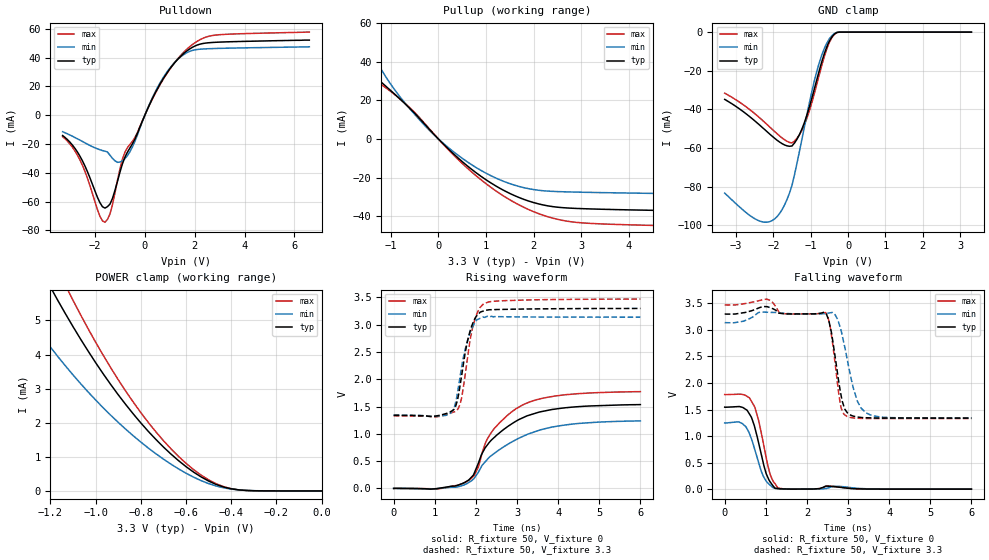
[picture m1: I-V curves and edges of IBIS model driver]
| IBIS file io_buf.ibs created by PYS2IBIS3
| Missouri S&T EMC Lab
[IBIS Ver] 6.0
[File Name] io_buf.ibs
[File Rev] 0.1
[Date] December 6, 2025
[Source] Netlist generated by Grok
[Notes] testing the exe by Simon
[Disclaimer] This buffer is not a real buffer. It is a imaginay buffer. What
 is a imaginay buffer? An imagnary buffer is a buffer that is...
[Copyright] Missouri S&T EMC Lab
[Component] MCM Driver 1
[Manufacturer] MegaFLOPS Inc.
[Package]
| variable   typ   min   max
R_pkg 0 NA NA
L_pkg 0H NA NA
C_pkg 0F NA NA
[Pin]  signal_name   model_name   R_pin   L_pin   C_pin
vss   vss   GND
vdd   vdd   POWER
| oe oe dummy
| in in dummy
out   out   driver
| End of Component
| Models and submodels in the file (1): driver (I/O)
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[Model] driver
Model_type I/O
Polarity Non-Inverting
Enable Active-High
Vinl  = 0.8V
Vinh  = 2V
C_comp 1.2000pF 1.0000pF 1.4000pF
[Temperature Range] 27.0000 100.0000 0.0000
[Voltage Range] 3.3000V 3.0000V 3.6000V
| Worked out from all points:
|   slope of the pulldown table from 0 to 0.495 V, typ, clamps not added: 27.4 ohm
|   slope of the pullup table from 0 to 0.495 V, typ, clamps not added: 42.7 ohm
|   GND clamp passes 1 mA (typ) near -0.36 V on its own axis
|   POWER clamp passes 1 mA (typ) near -0.65 V on its own axis
|   rising waveform, R_fixture 50, V_fixture 0: 20-80 % time 993ps typ, 1.23ns min, 863ps max; typ from 0 V to 1.54 V
|   rising waveform, R_fixture 50, V_fixture 3.3: 20-80 % time 285ps typ, 285ps min, 279ps max; typ from 1.34 V to 3.3 V
|   falling waveform, R_fixture 50, V_fixture 0: 20-80 % time 297ps typ, 309ps min, 301ps max; typ from 1.54 V to 0 V
|   falling waveform, R_fixture 50, V_fixture 3.3: 20-80 % time 234ps typ, 315ps min, 213ps max; typ from 3.3 V to 1.34 V
[Pulldown]
| Voltage   I(typ)   I(min)   I(max)
-3.3V     -14.11mA   -11.49mA   -14.92mA
-2.6V     -28.62mA   -17.33mA   -31.26mA
-1.8V     -60.89mA   -24.01mA   -70.36mA
-1.6V     -64.58mA   -24.99mA   -74.37mA
-1.3V     -57.87mA   -29.98mA   -62.22mA
-1V       -39.62mA   -32.58mA   -37.38mA
-800mV    -29.26mA   -30.26mA   -25.73mA
-400mV    -16.61mA   -18.23mA   -15.56mA
600mV     21.34mA    22.16mA    20.91mA
1.7V      44.86mA    43.6mA     46.12mA
2.8V      50.65mA    46.37mA    55.62mA
6.6V      52.2mA     47.56mA    57.78mA
[Pullup]
| Voltage   I(typ)   I(min)   I(max)
-3.3V     52.9mA     288mA      32.03mA
-2.9V     57.26mA    200.3mA    40.86mA
-2.5V     55.97mA    137.1mA    43.93mA
-2.2V     50.87mA    101.5mA    42.91mA
-1.7V     40.21mA    61.42mA    36.21mA
-1V       25.06mA    28.32mA    24.59mA
-200mV    5.278mA    4.74mA     5.561mA
600mV     -13.78mA   -11.72mA   -14.92mA
1.5V      -28.2mA    -23.1mA    -31.5mA
2.2V      -34.15mA   -26.79mA   -39.49mA
2.9V      -35.95mA   -27.49mA   -43.18mA
6.6V      -37.71mA   -28.71mA   -45.68mA
[GND Clamp]
| Voltage   I(typ)   I(min)   I(max)
-3.3V     -34.82mA   -83.32mA   -31.62mA
-2.367V   -48.08mA   -97.77mA   -44.32mA
-2.1V     -52.69mA   -98.1mA    -49.02mA
-1.833V   -56.87mA   -93.93mA   -53.7mA
-1.633V   -58.86mA   -86.63mA   -56.5mA
-1.5V     -58.92mA   -79.34mA   -57.37mA
-1.233V   -50.13mA   -55.35mA   -50.74mA
-1.033V   -38.66mA   -36.46mA   -40.67mA
-766.7mV  -19.68mA   -15.62mA   -21.83mA
-566.7mV  -7.562mA   -5.625mA   -8.589mA
-366.7mV  -1.04mA    -747.4uA   -1.186mA
3.3V      806.1pA    7.276uA    187.3pA
[POWER Clamp]
| Voltage   I(typ)   I(min)   I(max)
-3.3V     69.1mA     63.7mA     73.07mA
-1.367V   8.162mA    5.773mA    9.455mA
-1.2V     5.986mA    4.223mA    6.947mA
-1.167V   5.586mA    3.941mA    6.483mA
-1.133V   5.198mA    3.669mA    6.033mA
-1.1V     4.823mA    3.406mA    5.596mA
-966.7mV  3.44mA     2.442mA    3.986mA
-833.3mV  2.26mA     1.618mA    2.607mA
-700mV    1.29mA     934.1uA    1.477mA
-566.7mV  553.4uA    405uA      627uA
-400mV    62.27uA    53.24uA    65.79uA
0V        806.1pA    6.115nA    316.9pA
[Ramp]
| variable   typ   min   max
dV/dt_r 0.9222/0.9946n 0.7428/1.233n 1.0644/0.8621n
dV/dt_f 1.1772/0.2405n 1.0914/0.3162n 1.2714/0.2077n
R_load = 50
[Rising Waveform]
R_fixture = 50
V_fixture = 0
|time   V(typ)   V(min)   V(max)
0s        7.302nV    59.67nV    2.904nV
1.033ns   -5.054mV   -3.508mV   -12.03mV
1.838ns   163.6mV    113.8mV    153mV
2.054ns   449.8mV    289.3mV    380.3mV
2.228ns   748.1mV    491mV      827.9mV
2.432ns   924mV      635.4mV    1.086V
2.841ns   1.171V     838.6mV    1.386V
3.315ns   1.347V     1.009V     1.588V
4.444ns   1.497V     1.188V     1.735V
6ns       1.537V     1.238V     1.774V
[Rising Waveform]
R_fixture = 50
V_fixture = 3.3
|time   V(typ)   V(min)   V(max)
0s        1.338V     1.342V     1.329V
1.273ns   1.372V     1.341V     1.351V
1.429ns   1.427V     1.416V     1.394V
1.538ns   1.58V      1.685V     1.429V
1.658ns   2.091V     2.248V     1.678V
1.778ns   2.643V     2.662V     2.294V
1.85ns    2.864V     2.836V     2.675V
2.03ns    3.173V     3.092V     3.217V
2.192ns   3.257V     3.138V     3.386V
6ns       3.299V     3.139V     3.471V
[Falling Waveform]
R_fixture = 50
V_fixture = 0
|time   V(typ)   V(min)   V(max)
0s        1.545V     1.247V     1.783V
432.4ps   1.542V     1.233V     1.785V
588.6ps   1.432V     1.074V     1.729V
726.7ps   1.178V     760mV      1.555V
828.8ps   859.9mV    495.4mV    1.282V
1.009ns   291.2mV    150.6mV    591.7mV
1.135ns   106.5mV    53.39mV    216.6mV
1.297ns   11.41mV    6.949mV    21.46mV
2.469ns   57.83mV    11.52mV    54.93mV
6ns       -121nV     2.124uV    1.442uV
[Falling Waveform]
R_fixture = 50
V_fixture = 3.3
|time   V(typ)   V(min)   V(max)
0s        3.3V       3.139V     3.472V
1.015ns   3.439V     3.334V     3.582V
1.333ns   3.315V     3.323V     3.321V
2.457ns   3.31V      3.31V      3.327V
2.559ns   3.085V     3.322V     3.094V
2.817ns   1.82V      3.025V     1.583V
2.973ns   1.449V     2.467V     1.371V
3.225ns   1.359V     1.66V      1.335V
3.526ns   1.342V     1.403V     1.33V
6ns       1.338V     1.342V     1.329V
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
